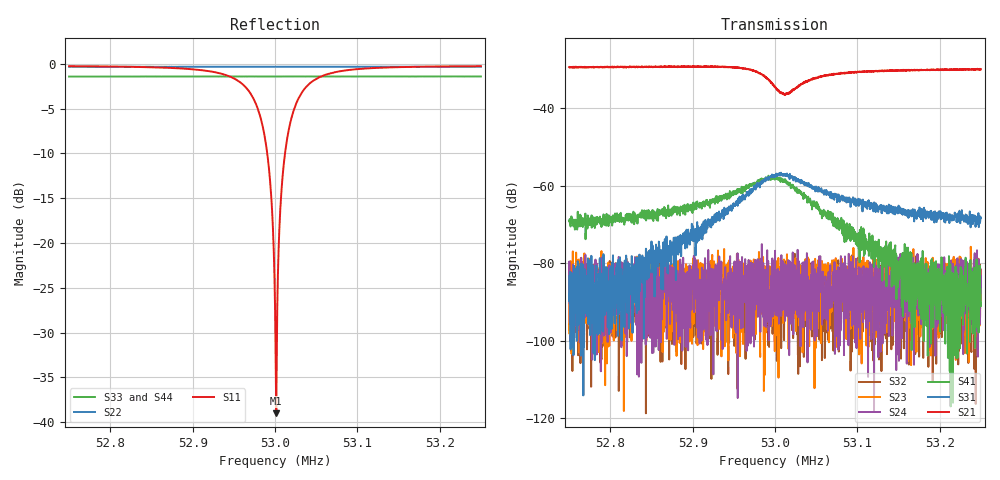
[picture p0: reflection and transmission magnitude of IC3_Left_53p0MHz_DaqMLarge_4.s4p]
#  HZ  S  DB  R  50.00
! Rohde & Schwarz Vector Network Analyzer
! Rohde-Schwarz,ZNB8-4Port,1311601044102961,2.82
! Created: UTC 2/12/2019, 11:49:28 AM
! freq[Hz]  db:S11  ang:S11  db:S12  ang:S12  db:S13  ang:S13  db:S14  ang:S14
!  db:S21  ang:S21  db:S22  ang:S22  db:S23  ang:S23  db:S24  ang:S24
!  db:S31  ang:S31  db:S32  ang:S32  db:S33  ang:S33  db:S34  ang:S34
!  db:S41  ang:S41  db:S42  ang:S42  db:S43  ang:S43  db:S44  ang:S44
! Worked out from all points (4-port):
!   2001 points, 52.75 MHz to 53.25 MHz, reference 50 ohm
!   strongest paths, dB at 52.75 MHz, 52.875 MHz, 53 MHz, 53.125 MHz, 53.25 MHz:
!     S21: -29.3, -29.2, -34.5, -30.4, -29.9
!     S31: -83.3, -74.7, -57.4, -65.6, -68.3
!     S41: -69.1, -65.8, -58.1, -75.1, -90.2
!     S24: -84.4, -85.3, -76.8, -88.0, -83.4
!     S23: -85.4, -93.3, -90.9, -86.0, -83.2
!     S32: -85.2, -100.9, -88.1, -93.5, -89.5
!   lowest |S11| = -39.0 dB at 53.0015 MHz (marker M1), VSWR 1.02, Z = 49.9 + j1.12 ohm
!   |S11| at or under -10 dB: 52.99058 MHz to 53.01215 MHz (21.56 kHz wide, 0.0407 % of centre)
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5.275e7  -0.26 -67.9  -29.30 130.9  -80.78 5.8  -69.69 -82.4
         -29.33 130.7  -0.32 149.3  -85.43 -127.4  -84.37 78.9
         -83.35 -67.3  -85.18 24.0  -1.42 71.2  -106.03 -144.2
         -69.05 -83.4  -89.55 -129.7  -84.50 -37.9  -1.38 65.5
5.29665e7  -2.83 -114.0  -29.77 104.2  -62.17 39.3  -60.03 -131.6
           -29.85 104.1  -0.32 145.0  -86.91 -129.2  -87.58 -37.2
           -62.36 41.2  -89.80 -98.8  -1.41 68.6  -90.61 -131.0
           -60.50 -133.6  -88.05 -24.8  -92.27 94.2  -1.37 62.9
5.299075e7  -10.12 -145.4  -32.32 93.4  -58.07 12.9  -57.71 -164.7
            -32.37 93.6  -0.32 144.5  -86.49 -17.1  -84.91 95.2
            -58.41 12.7  -91.20 153.5  -1.41 68.3  -84.99 70.5
            -58.07 -159.1  -88.10 60.7  -99.70 33.7  -1.38 62.6
5.30015e7  -39.02 92.4  -34.85 96.7  -57.01 -6.0  -57.98 177.0
           -34.81 97.5  -0.32 144.3  -79.46 161.5  -81.84 7.8
           -57.02 -6.7  -84.45 -141.4  -1.41 68.2  -89.98 101.4
           -58.20 177.7  -88.15 63.8  -88.02 45.7  -1.38 62.5
5.3012e7  -10.11 0.1  -36.45 115.0  -57.09 -27.3  -59.27 159.6
          -36.27 115.6  -0.32 144.1  -83.03 -41.6  -81.36 -5.7
          -57.16 -25.9  -85.87 106.6  -1.40 68.1  -82.62 -91.3
          -58.75 158.2  -87.28 22.8  -85.22 85.6  -1.38 62.3
5.3036e7  -2.77 -31.8  -33.28 136.7  -59.75 -52.0  -62.67 136.8
          -33.24 137.2  -0.32 143.6  -92.69 31.2  -87.15 53.1
          -59.29 -53.9  -87.48 159.0  -1.41 67.8  -104.15 39.7
          -62.89 131.1  -82.86 -25.2  -95.12 160.6  -1.37 62.1
5.325e7  -0.25 -78.6  -29.86 120.3  -67.90 -87.4  -83.16 -72.6
         -29.86 120.2  -0.31 139.4  -83.17 -150.2  -83.41 -57.5
         -68.35 -95.6  -89.55 -16.8  -1.40 65.3  -85.19 74.6
         -90.23 102.9  -81.28 6.9  -93.45 107.2  -1.37 59.5
